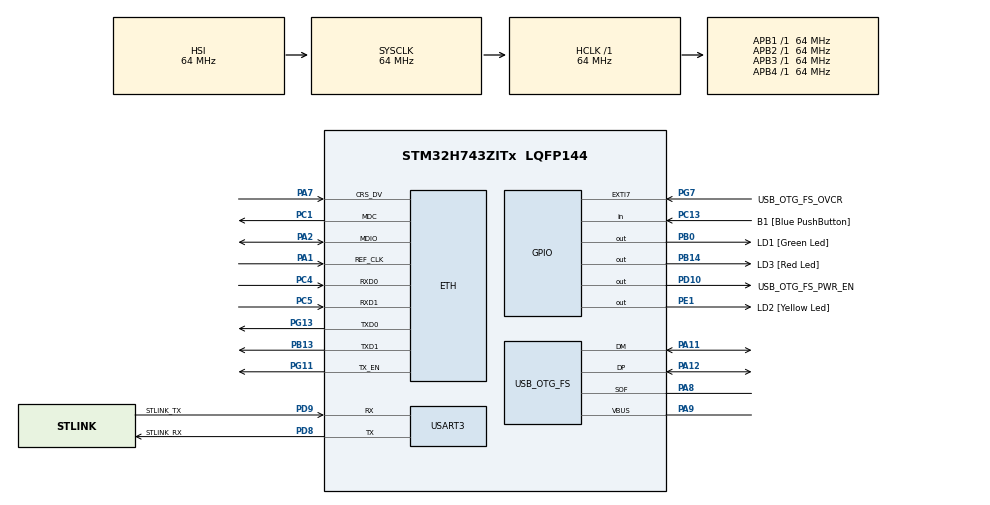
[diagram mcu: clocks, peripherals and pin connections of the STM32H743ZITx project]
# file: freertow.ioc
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ETH.MediaInterface=HAL_ETH_RMII_MODE
FREERTOS.INCLUDE_xTaskGetHandle=1
FREERTOS.Tasks01=myTask01,24,1024,StartmyTask01,Default,NULL,Static,defaultmyTask01,myTask01ControlBlock;myTask03,24,128,StartTask03,Default,NULL,Static,myTask03Buffer,myTask03ControlBlock;myTask02,24,128,StartTask02,Default,NULL,Static,myTask02Buffer,myTask02ControlBlock;myTask04,24,1024,StartTask04,Default,NULL,Static,myTask04Buffer,myTask04ControlBlock;myTask05,24,128,StartTask05,Default,NULL,Static,myTask05Buffer,myTask05ControlBlock;myTask06,8,128,StartTask06,Default,NULL,Dynamic,NULL,NULL
FREERTOS.configCHECK_FOR_STACK_OVERFLOW=1
FREERTOS.configENABLE_FPU=1
FREERTOS.configGENERATE_RUN_TIME_STATS=1
FREERTOS.configUSE_DAEMON_TASK_STARTUP_HOOK=1
FREERTOS.configUSE_IDLE_HOOK=1
FREERTOS.configUSE_MALLOC_FAILED_HOOK=1
FREERTOS.configUSE_NEWLIB_REENTRANT=1
FREERTOS.configUSE_STATS_FORMATTING_FUNCTIONS=1
FREERTOS.configUSE_TICK_HOOK=1
Mcu.Family=STM32H7
Mcu.Name=STM32H743ZITx
Mcu.Package=LQFP144
NVIC.PriorityGroup=NVIC_PRIORITYGROUP_4
NVIC.TIM6_DAC_IRQn=true\:15\:0\:false\:false\:true\:false\:false\:true\:true
NVIC.TimeBase=TIM6_DAC_IRQn
NVIC.TimeBaseIP=TIM6
NVIC.USART3_IRQn=true\:5\:0\:false\:false\:true\:true\:true\:true\:true
PA1.Mode=RMII
PA1.Signal=ETH_REF_CLK
PA11.Mode=Device_Only
PA11.Signal=USB_OTG_FS_DM
PA12.Mode=Device_Only
PA12.Signal=USB_OTG_FS_DP
PA2.Mode=RMII
PA2.Signal=ETH_MDIO
PA7.Mode=RMII
PA7.Signal=ETH_CRS_DV
PA8.Mode=Activate_SOF_FS
PA8.Signal=USB_OTG_FS_SOF
PA9.Mode=Activate_VBUS
PA9.Signal=USB_OTG_FS_VBUS
PB0.GPIO_Label=LD1 [Green Led]
PB0.Signal=GPIO_Output
PB13.Mode=RMII
PB13.Signal=ETH_TXD1
PB14.GPIO_Label=LD3 [Red Led]
PB14.GPIO_PuPd=GPIO_NOPULL
PB14.Signal=GPIO_Output
PC1.Mode=RMII
PC1.Signal=ETH_MDC
PC13.GPIO_Label=B1 [Blue PushButton]
PC13.GPIO_PuPd=GPIO_PULLDOWN
PC13.Signal=GPIO_Input
PC14-OSC32_IN\ (OSC32_IN).Mode=LSE-External-Oscillator
PC14-OSC32_IN\ (OSC32_IN).Signal=RCC_OSC32_IN
PC15-OSC32_OUT\ (OSC32_OUT).Mode=LSE-External-Oscillator
PC15-OSC32_OUT\ (OSC32_OUT).Signal=RCC_OSC32_OUT
PC4.Mode=RMII
PC4.Signal=ETH_RXD0
PC5.Mode=RMII
PC5.Signal=ETH_RXD1
PD10.GPIO_Label=USB_OTG_FS_PWR_EN
PD10.Signal=GPIO_Output
PD8.GPIO_Label=STLINK_RX
PD8.Mode=Asynchronous
PD8.Signal=USART3_TX
PD9.GPIO_Label=STLINK_TX
PD9.Mode=Asynchronous
PD9.Signal=USART3_RX
PE1.GPIO_Label=LD2 [Yellow Led]
PE1.Signal=GPIO_Output
PG11.Mode=RMII
PG11.Signal=ETH_TX_EN
PG13.Mode=RMII
PG13.Signal=ETH_TXD0
PG7.GPIO_Label=USB_OTG_FS_OVCR
PG7.Signal=GPXTI7
PH0-OSC_IN\ (PH0).Mode=HSE-External-Clock-Source
PH0-OSC_IN\ (PH0).Signal=RCC_OSC_IN
PH1-OSC_OUT\ (PH1).Signal=RCC_OSC_OUT
ProjectManager.HeapSize=0x200
ProjectManager.StackSize=0x400
ProjectManager.TargetToolchain=STM32CubeIDE
RCC.ADCFreq_Value=16125000
RCC.APB1Freq_Value=64000000
RCC.APB2Freq_Value=64000000
RCC.APB3Freq_Value=64000000
RCC.APB4Freq_Value=64000000
RCC.CortexFreq_Value=64000000
RCC.DIVM1=1
RCC.DIVN1=24
RCC.DIVQ1=4
RCC.HCLKFreq_Value=64000000
RCC.HSE_VALUE=8000000
RCC.SYSCLKFreq_VALUE=64000000
RCC.USBFreq_Value=48000000
USART3.VirtualMode-Asynchronous=VM_ASYNC
USB_OTG_FS.VirtualMode=Device_Only
VP_FREERTOS_VS_CMSIS_V2.Mode=CMSIS_V2
VP_SYS_VS_tim6.Mode=TIM6
board=NUCLEO-H743ZI2

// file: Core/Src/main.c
/* USER CODE BEGIN Header */
/**
  ******************************************************************************
  * @file           : main.c
  * @brief          : Main program body
  ******************************************************************************
  * @attention
  *
  * Copyright (c) 2023 STMicroelectronics.
  * All rights reserved.
  *
  * This software is licensed under terms that can be found in the LICENSE file
  * in the root directory of this software component.
  * If no LICENSE file comes with this software, it is provided AS-IS.
  *
  ******************************************************************************
  */
/* USER CODE END Header */
#include "main.h"
#include "cmsis_os.h"
#include "eth.h"
#include "usart.h"
#include "usb_otg.h"
#include "gpio.h"

/* USER CODE BEGIN Includes */
#include "FreeRTOS.h"
#include "task.h"
#include "timers.h"
#include "stdio.h"

/* USER CODE END Includes */

void SystemClock_Config(void);
void MX_FREERTOS_Init(void);

int main(void)
{

  /* MCU Configuration--------------------------------------------------------*/

  /* Reset of all peripherals, Initializes the Flash interface and the Systick. */
  HAL_Init();

  /* Configure the system clock */
  SystemClock_Config();

  /* Initialize all configured peripherals */
  MX_GPIO_Init();
  MX_ETH_Init();
  MX_USART3_UART_Init();
  MX_USB_OTG_FS_PCD_Init();
  /* USER CODE BEGIN 2 */
  setbuf(stdout,NULL);
  /* USER CODE END 2 */

  /* Init scheduler */
  osKernelInitialize();  /* Call init function for freertos objects (in freertos.c) */
  MX_FREERTOS_Init();

  /* Start scheduler */
  osKernelStart();

  /* We should never get here as control is now taken by the scheduler */
  /* Infinite loop */
  while (1)
  {

  }
}

void SystemClock_Config(void)
{
  RCC_OscInitTypeDef RCC_OscInitStruct = {0};
  RCC_ClkInitTypeDef RCC_ClkInitStruct = {0};

  /** Supply configuration update enable
  */
  HAL_PWREx_ConfigSupply(PWR_LDO_SUPPLY);

  /** Configure the main internal regulator output voltage
  */
  __HAL_PWR_VOLTAGESCALING_CONFIG(PWR_REGULATOR_VOLTAGE_SCALE3);

  while(!__HAL_PWR_GET_FLAG(PWR_FLAG_VOSRDY)) {}

  /** Initializes the RCC Oscillators according to the specified parameters
  * in the RCC_OscInitTypeDef structure.
  */
  RCC_OscInitStruct.OscillatorType = RCC_OSCILLATORTYPE_HSI|RCC_OSCILLATORTYPE_HSE;
  RCC_OscInitStruct.HSEState = RCC_HSE_BYPASS;
  RCC_OscInitStruct.HSIState = RCC_HSI_DIV1;
  RCC_OscInitStruct.HSICalibrationValue = RCC_HSICALIBRATION_DEFAULT;
  RCC_OscInitStruct.PLL.PLLState = RCC_PLL_ON;
  RCC_OscInitStruct.PLL.PLLSource = RCC_PLLSOURCE_HSE;
  RCC_OscInitStruct.PLL.PLLM = 1;
  RCC_OscInitStruct.PLL.PLLN = 24;
  RCC_OscInitStruct.PLL.PLLP = 2;
  RCC_OscInitStruct.PLL.PLLQ = 4;
  RCC_OscInitStruct.PLL.PLLR = 2;
  RCC_OscInitStruct.PLL.PLLRGE = RCC_PLL1VCIRANGE_3;
  RCC_OscInitStruct.PLL.PLLVCOSEL = RCC_PLL1VCOWIDE;
  RCC_OscInitStruct.PLL.PLLFRACN = 0;
  if (HAL_RCC_OscConfig(&RCC_OscInitStruct) != HAL_OK)
  {
    Error_Handler();
  }

  /** Initializes the CPU, AHB and APB buses clocks
  */
  RCC_ClkInitStruct.ClockType = RCC_CLOCKTYPE_HCLK|RCC_CLOCKTYPE_SYSCLK
                              |RCC_CLOCKTYPE_PCLK1|RCC_CLOCKTYPE_PCLK2
                              |RCC_CLOCKTYPE_D3PCLK1|RCC_CLOCKTYPE_D1PCLK1;
  RCC_ClkInitStruct.SYSCLKSource = RCC_SYSCLKSOURCE_HSI;
  RCC_ClkInitStruct.SYSCLKDivider = RCC_SYSCLK_DIV1;
  RCC_ClkInitStruct.AHBCLKDivider = RCC_HCLK_DIV1;
  RCC_ClkInitStruct.APB3CLKDivider = RCC_APB3_DIV1;
  RCC_ClkInitStruct.APB1CLKDivider = RCC_APB1_DIV1;
  RCC_ClkInitStruct.APB2CLKDivider = RCC_APB2_DIV1;
  RCC_ClkInitStruct.APB4CLKDivider = RCC_APB4_DIV1;

  if (HAL_RCC_ClockConfig(&RCC_ClkInitStruct, FLASH_LATENCY_1) != HAL_OK)
  {
    Error_Handler();
  }
}

void HAL_TIM_PeriodElapsedCallback(TIM_HandleTypeDef *htim)
{
  if (htim->Instance == TIM6) {
    HAL_IncTick();
  }
}

void Error_Handler(void)
{
  __disable_irq();
  while (1)
  {
  }
}

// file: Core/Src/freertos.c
/* USER CODE BEGIN Header */
/**
  ******************************************************************************
  * File Name          : freertos.c
  * Description        : Code for freertos applications
  ******************************************************************************
  * @attention
  *
  * Copyright (c) 2023 STMicroelectronics.
  * All rights reserved.
  *
  * This software is licensed under terms that can be found in the LICENSE file
  * in the root directory of this software component.
  * If no LICENSE file comes with this software, it is provided AS-IS.
  *
  ******************************************************************************
  */
/* USER CODE END Header */

#include "FreeRTOS.h"
#include "task.h"
#include "main.h"
#include "cmsis_os.h"

/* USER CODE BEGIN Includes */
#include "stdio.h"
#include "CPU_usage.h"
#include "usart.h"
#include "timers.h"
#include "CLI.h"
#include "taskstatus.h"
/* USER CODE END Includes */

typedef StaticTask_t osStaticThreadDef_t;

/* Definitions for myTask01 */
osThreadId_t myTask01Handle;
uint32_t defaultmyTask01[ 10* 1024 ];
osStaticThreadDef_t myTask01ControlBlock;
const osThreadAttr_t myTask01_attributes = {
  .name = "myTask01",
  .cb_mem = &myTask01ControlBlock,
  .cb_size = sizeof(myTask01ControlBlock),
  .stack_mem = &defaultmyTask01[0],
  .stack_size = sizeof(defaultmyTask01),
  .priority = (osPriority_t) osPriorityNormal,
};
/* Definitions for myTask03 */
osThreadId_t myTask03Handle;
uint32_t myTask03Buffer[ 128 ];
osStaticThreadDef_t myTask03ControlBlock;
const osThreadAttr_t myTask03_attributes = {
  .name = "myTask03",
  .cb_mem = &myTask03ControlBlock,
  .cb_size = sizeof(myTask03ControlBlock),
  .stack_mem = &myTask03Buffer[0],
  .stack_size = sizeof(myTask03Buffer),
  .priority = (osPriority_t) osPriorityNormal,
};
/* Definitions for myTask02 */
osThreadId_t myTask02Handle;
uint32_t myTask02Buffer[ 128 ];
osStaticThreadDef_t myTask02ControlBlock;
const osThreadAttr_t myTask02_attributes = {
  .name = "myTask02",
  .cb_mem = &myTask02ControlBlock,
  .cb_size = sizeof(myTask02ControlBlock),
  .stack_mem = &myTask02Buffer[0],
  .stack_size = sizeof(myTask02Buffer),
  .priority = (osPriority_t) osPriorityNormal,
};
/* Definitions for myTask04 */
osThreadId_t myTask04Handle;
uint32_t myTask04Buffer[ 1024 ];
osStaticThreadDef_t myTask04ControlBlock;
const osThreadAttr_t myTask04_attributes = {
  .name = "myTask04",
  .cb_mem = &myTask04ControlBlock,
  .cb_size = sizeof(myTask04ControlBlock),
  .stack_mem = &myTask04Buffer[0],
  .stack_size = sizeof(myTask04Buffer),
  .priority = (osPriority_t) osPriorityNormal,
};
/* Definitions for myTask05 */
osThreadId_t myTask05Handle;
uint32_t myTask05Buffer[ 128 ];
osStaticThreadDef_t myTask05ControlBlock;
const osThreadAttr_t myTask05_attributes = {
  .name = "myTask05",
  .cb_mem = &myTask05ControlBlock,
  .cb_size = sizeof(myTask05ControlBlock),
  .stack_mem = &myTask05Buffer[0],
  .stack_size = sizeof(myTask05Buffer),
  .priority = (osPriority_t) osPriorityNormal,
};
/* Definitions for myTask06 */
osThreadId_t myTask06Handle;
const osThreadAttr_t myTask06_attributes = {
  .name = "myTask06",
  .stack_size = 128 * 4,
  .priority = (osPriority_t) osPriorityLow,
};

void StartmyTask01(void *argument);
void StartTask03(void *argument);
void StartTask02(void *argument);
void StartTask04(void *argument);
void StartTask05(void *argument);
void StartTask06(void *argument);

void MX_FREERTOS_Init(void); /* (MISRA C 2004 rule 8.1) */

/* Hook prototypes */
void configureTimerForRunTimeStats(void);
unsigned long getRunTimeCounterValue(void);
void vApplicationIdleHook(void);
void vApplicationTickHook(void);
void vApplicationStackOverflowHook(xTaskHandle xTask, signed char *pcTaskName);
void vApplicationMallocFailedHook(void);
void vApplicationDaemonTaskStartupHook(void);

/* USER CODE BEGIN 1 */
/* Functions needed when configGENERATE_RUN_TIME_STATS is on */
__weak void configureTimerForRunTimeStats(void)
{

}

__weak unsigned long getRunTimeCounterValue(void)
{
	return osKernelGetSysTimerCount();
}
/* USER CODE END 1 */

/* USER CODE BEGIN 2 */

void vApplicationIdleHook( void )
{

   /* vApplicationIdleHook() will only be called if configUSE_IDLE_HOOK is set
   to 1 in FreeRTOSConfig.h. It will be called on each iteration of the idle
   task. It is essential that code added to this hook function never attempts
   to block in any way (for example, call xQueueReceive() with a block time
   specified, or call vTaskDelay()). If the application makes use of the
   vTaskDelete() API function (as this demo application does) then it is also
   important that vApplicationIdleHook() is permitted to return to its calling
   function, because it is the responsibility of the idle task to clean up
   memory allocated by the kernel to any task that has since been deleted. */
}
/* USER CODE END 2 */

/* USER CODE BEGIN 3 */
TickType_t tickcounter=0;
void vApplicationTickHook( void )
{

	tickcounter++;

   /* This function will be called by each tick interrupt if
   configUSE_TICK_HOOK is set to 1 in FreeRTOSConfig.h. User code can be
   added here, but the tick hook is called from an interrupt context, so
   code must not attempt to block, and only the interrupt safe FreeRTOS API
   functions can be used (those that end in FromISR()). */
}
/* USER CODE END 3 */

/* USER CODE BEGIN 4 */
void vApplicationStackOverflowHook(xTaskHandle xTask, signed char *pcTaskName)
{
   /* Run time stack overflow checking is performed if
   configCHECK_FOR_STACK_OVERFLOW is defined to 1 or 2. This hook function is
   called if a stack overflow is detected. */
}
/* USER CODE END 4 */

/* USER CODE BEGIN 5 */
void vApplicationMallocFailedHook(void)
{
   /* vApplicationMallocFailedHook() will only be called if
   configUSE_MALLOC_FAILED_HOOK is set to 1 in FreeRTOSConfig.h. It is a hook
   function that will get called if a call to pvPortMalloc() fails.
   pvPortMalloc() is called internally by the kernel whenever a task, queue,
   timer or semaphore is created. It is also called by various parts of the
   demo application. If heap_1.c or heap_2.c are used, then the size of the
   heap available to pvPortMalloc() is defined by configTOTAL_HEAP_SIZE in
   FreeRTOSConfig.h, and the xPortGetFreeHeapSize() API function can be used
   to query the size of free heap space that remains (although it does not
   provide information on how the remaining heap might be fragmented). */
}
/* USER CODE END 5 */

/* USER CODE BEGIN DAEMON_TASK_STARTUP_HOOK */
void vApplicationDaemonTaskStartupHook(void)
{
}
/* USER CODE END DAEMON_TASK_STARTUP_HOOK */

void MX_FREERTOS_Init(void) {

  /* Create the thread(s) */
  /* creation of myTask01 */
  myTask01Handle = osThreadNew(StartmyTask01, NULL, &myTask01_attributes);

  /* creation of myTask03 */
  myTask03Handle = osThreadNew(StartTask03, NULL, &myTask03_attributes);

  /* creation of myTask02 */
  myTask02Handle = osThreadNew(StartTask02, NULL, &myTask02_attributes);

  /* creation of myTask04 */
  myTask04Handle = osThreadNew(StartTask04, NULL, &myTask04_attributes);

  /* creation of myTask05 */
  myTask05Handle = osThreadNew(StartTask05, NULL, &myTask05_attributes);

  /* creation of myTask06 */
  myTask06Handle = osThreadNew(StartTask06, NULL, &myTask06_attributes);

}

/* USER CODE BEGIN Header_StartmyTask01 */

int __io_putchar(int ch)
{
      HAL_UART_Transmit(&huart3, (uint8_t *)&ch, 1, 100);
      return ch;
}
/**
  * @brief  Function implementing the myTask01 thread.
  * @param  argument: Not used
  * @retval None
  */
/* USER CODE END Header_StartmyTask01 */

void StartmyTask01(void *argument)
{

  /* USER CODE BEGIN StartmyTask01 */
  /* Infinite loop */
  for(;;)
  {
	  extern void CLI_Command (void);
	  CLI_Command();
	  osDelay(1);
  }
  /* USER CODE END StartmyTask01 */
}

void StartTask03(void *argument)
{
  /* USER CODE BEGIN StartTask03 */
  /* Infinite loop */
  for(;;)
  {
//	  CPU_Load1(30, 1000);
	  vTaskSuspend(myTask03Handle);
	  osDelay(1);
  }

  /* USER CODE END StartTask03 */
}

void StartTask02(void *argument)
{
	for(;;)
	{
	osDelay(1);
	}
}

void StartTask04(void *argument)
{
  /* USER CODE BEGIN StartTask04 */
  /* Infinite loop */
  for(;;)
  {
	osDelay(1000);
  }

  /* USER CODE END StartTask04 */
}

void StartTask05(void *argument)
{
  /* USER CODE BEGIN StartTask05 */
  /* Infinite loop */
  for(;;)
  {
    osDelay(1000);
  }
  /* USER CODE END StartTask05 */
}

void StartTask06(void *argument)
{
  for(;;)
  {
    osDelay(1);
  }
}
